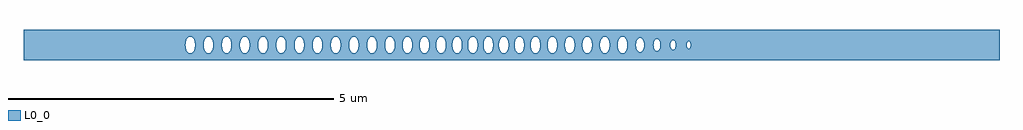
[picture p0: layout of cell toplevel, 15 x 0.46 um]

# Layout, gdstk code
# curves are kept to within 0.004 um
import gdstk
lib = gdstk.Library(unit=1e-6, precision=1e-09)
def P(c, l, *ps):  # polygons
    for p in ps: c.add(gdstk.Polygon(p, *l))
L0_0 = (0, 0)

toplevel = lib.new_cell('toplevel')
P(toplevel, L0_0, [(-4.392,-0.231),(-4.392,-0.128),(-4.41,-0.118),(-4.429,-0.095),(-4.441,-0.07),(-4.452,-0.016),(-4.449,0.04),(-4.441,0.07),(-4.422,0.106),(-4.392,0.128),(-4.392,0.231),(-7.5,0.231),(-7.5,-0.008),(-5.011,-0.008),(-5.009,0.032),(-4.997,0.077),(-4.973,0.114),(-4.942,0.13),(-4.914,0.124),(-4.886,0.095),(-4.866,0.04),(-4.863,0),(-4.732,0),(-4.725,0.056),(-4.705,0.101),(-4.676,0.126),(-4.644,0.128),(-4.614,0.106),(-4.6,0.083),(-4.59,0.056),(-4.583,0),(-4.59,-0.056),(-4.603,-0.089),(-4.626,-0.118),(-4.653,-0.13),(-4.68,-0.124),(-4.705,-0.101),(-4.725,-0.056),(-4.732,0),(-4.863,0),(-4.866,-0.04),(-4.886,-0.095),(-4.905,-0.118),(-4.932,-0.13),(-4.96,-0.124),(-4.988,-0.095),(-5.004,-0.056),(-5.011,-0.008),(-7.5,-0.008),(-7.5,-0.231)],
  [(-4.383,0.13),(-4.355,0.124),(-4.327,0.095),(-4.309,0.048),(-4.304,-0.008),(-4.173,-0.008),(-4.168,0.048),(-4.146,0.101),(-4.113,0.128),(-4.08,0.126),(-4.051,0.101),(-4.036,0.07),(-4.028,0.04),(-4.025,-0.016),(-3.893,-0.016),(-3.89,0.04),(-3.867,0.101),(-3.838,0.126),(-3.805,0.128),(-3.776,0.106),(-3.759,0.077),(-3.75,0.048),(-3.745,-0.008),(-3.75,-0.048),(-3.765,-0.089),(-3.788,-0.118),(-3.815,-0.13),(-3.842,-0.124),(-3.867,-0.101),(-3.882,-0.07),(-3.893,-0.016),(-4.025,-0.016),(-4.036,-0.07),(-4.051,-0.101),(-4.076,-0.124),(-4.103,-0.13),(-4.13,-0.118),(-4.153,-0.089),(-4.168,-0.048),(-4.173,-0.008),(-4.304,-0.008),(-4.313,-0.063),(-4.331,-0.101),(-4.364,-0.128),(-4.392,-0.128),(-4.392,-0.231),(-3.6,-0.231),(-3.6,-0.077),(-3.614,-0.008),(-3.612,0.032),(-3.6,0.076),(-3.6,0.231),(-4.392,0.231),(-4.392,0.128)],
  [(-3.591,0.095),(-3.563,0.124),(-3.545,0.13),(-3.526,0.128),(-3.496,0.106),(-3.48,0.077),(-3.469,0.04),(-3.466,0),(-3.335,0),(-3.328,0.056),(-3.308,0.101),(-3.279,0.126),(-3.251,0.129),(-3.229,0.118),(-3.206,0.089),(-3.193,0.056),(-3.186,0),(-3.193,-0.056),(-3.206,-0.089),(-3.229,-0.118),(-3.256,-0.13),(-3.283,-0.124),(-3.308,-0.101),(-3.328,-0.056),(-3.335,0),(-3.466,0),(-3.477,-0.07),(-3.496,-0.106),(-3.517,-0.124),(-3.535,-0.13),(-3.563,-0.124),(-3.58,-0.11),(-3.6,-0.077),(-3.6,-0.231),(-2.938,-0.231),(-2.938,-0.106),(-2.958,-0.124),(-2.976,-0.13),(-3.013,-0.118),(-3.044,-0.07),(-3.055,-0.016),(-3.052,0.04),(-3.025,0.106),(-3.004,0.124),(-2.986,0.13),(-2.958,0.124),(-2.938,0.106),(-2.938,0.231),(-3.6,0.231),(-3.6,0.077)],
  [(-2.908,-0.024),(-2.921,-0.077),(-2.938,-0.106),(-2.938,-0.231),(-2.148,-0.231),(-2.148,-0.13),(-2.167,-0.124),(-2.195,-0.095),(-2.211,-0.056),(-2.218,-0.008),(-2.213,0.048),(-2.195,0.095),(-2.167,0.124),(-2.148,0.13),(-2.148,0.231),(-2.938,0.231),(-2.938,0.106),(-2.914,0.056),(-2.907,-0.008),(-2.776,-0.008),(-2.771,0.048),(-2.756,0.089),(-2.725,0.124),(-2.697,0.13),(-2.67,0.118),(-2.642,0.077),(-2.631,0.04),(-2.628,-0.016),(-2.496,-0.016),(-2.493,0.04),(-2.47,0.101),(-2.436,0.128),(-2.399,0.124),(-2.375,0.101),(-2.362,0.077),(-2.353,0.048),(-2.348,-0.008),(-2.362,-0.077),(-2.379,-0.106),(-2.408,-0.128),(-2.441,-0.126),(-2.47,-0.101),(-2.485,-0.07),(-2.496,-0.016),(-2.628,-0.016),(-2.639,-0.07),(-2.654,-0.101),(-2.674,-0.121),(-2.697,-0.13),(-2.725,-0.124),(-2.749,-0.101),(-2.767,-0.063),(-2.776,-0.008),(-2.907,-0.008)],
  [(-2.073,-0.04),(-2.1,-0.106),(-2.121,-0.124),(-2.148,-0.13),(-2.148,-0.231),(-1.369,-0.231),(-1.369,-0.118),(-1.4,-0.07),(-1.411,-0.016),(-1.409,0.032),(-1.4,0.07),(-1.369,0.118),(-1.369,0.231),(-2.148,0.231),(-2.148,0.13),(-2.121,0.124),(-2.093,0.095),(-2.073,0.04),(-2.07,-0.008),(-1.943,-0.008),(-1.938,0.048),(-1.923,0.089),(-1.9,0.118),(-1.873,0.13),(-1.846,0.124),(-1.821,0.101),(-1.798,0.04),(-1.795,-0.016),(-1.673,-0.016),(-1.67,0.04),(-1.662,0.07),(-1.643,0.106),(-1.613,0.128),(-1.585,0.128),(-1.563,0.114),(-1.548,0.095),(-1.532,0.056),(-1.525,-0.008),(-1.534,-0.063),(-1.559,-0.11),(-1.595,-0.13),(-1.618,-0.126),(-1.643,-0.106),(-1.662,-0.07),(-1.673,-0.016),(-1.795,-0.016),(-1.806,-0.07),(-1.821,-0.101),(-1.841,-0.121),(-1.864,-0.13),(-1.892,-0.124),(-1.916,-0.101),(-1.934,-0.063),(-1.943,-0.008),(-2.07,-0.008)],
  [(-1.36,0.124),(-1.342,0.13),(-1.323,0.128),(-1.293,0.106),(-1.27,0.056),(-1.263,-0.008),(-1.157,-0.008),(-1.15,0.056),(-1.137,0.089),(-1.11,0.121),(-1.078,0.13),(-1.051,0.118),(-1.025,0.083),(-1.012,0.04),(-1.009,-0.016),(-0.909,-0.016),(-0.906,0.04),(-0.883,0.101),(-0.854,0.126),(-0.821,0.128),(-0.792,0.106),(-0.775,0.077),(-0.766,0.048),(-0.761,-0.008),(-0.766,-0.048),(-0.781,-0.089),(-0.804,-0.118),(-0.831,-0.13),(-0.858,-0.124),(-0.883,-0.101),(-0.898,-0.07),(-0.909,-0.016),(-1.009,-0.016),(-1.02,-0.07),(-1.035,-0.101),(-1.06,-0.124),(-1.087,-0.13),(-1.114,-0.118),(-1.137,-0.089),(-1.15,-0.056),(-1.157,-0.008),(-1.263,-0.008),(-1.274,-0.07),(-1.293,-0.106),(-1.314,-0.124),(-1.332,-0.13),(-1.369,-0.118),(-1.369,-0.231),(-0.666,-0.231),(-0.666,0.231),(-1.369,0.231),(-1.369,0.118)],
  [(-0.075,-0.106),(-0.091,-0.121),(-0.114,-0.13),(-0.15,-0.118),(-0.166,-0.101),(-0.184,-0.063),(-0.193,0.008),(-0.179,0.077),(-0.166,0.101),(-0.142,0.124),(-0.114,0.13),(-0.091,0.121),(-0.071,0.101),(-0.056,0.07),(-0.056,0.231),(-0.666,0.231),(-0.666,0.032),(-0.657,0.07),(-0.638,0.106),(-0.617,0.124),(-0.589,0.13),(-0.562,0.118),(-0.543,0.095),(-0.523,0.04),(-0.52,-0.008),(-0.43,-0.008),(-0.425,0.048),(-0.407,0.095),(-0.379,0.124),(-0.351,0.13),(-0.324,0.118),(-0.305,0.095),(-0.293,0.07),(-0.282,0.016),(-0.285,-0.04),(-0.296,-0.077),(-0.324,-0.118),(-0.351,-0.13),(-0.379,-0.124),(-0.407,-0.095),(-0.423,-0.056),(-0.43,-0.008),(-0.52,-0.008),(-0.527,-0.056),(-0.543,-0.095),(-0.562,-0.118),(-0.589,-0.13),(-0.617,-0.124),(-0.638,-0.106),(-0.657,-0.07),(-0.666,-0.032),(-0.666,-0.231),(-0.056,-0.231),(-0.056,-0.071)],
  [(-0.048,-0.04),(-0.056,-0.07),(-0.056,-0.231),(0.623,-0.231),(0.623,-0.13),(0.596,-0.118),(0.577,-0.095),(0.565,-0.07),(0.554,-0.016),(0.556,0.032),(0.568,0.077),(0.596,0.118),(0.623,0.13),(0.623,0.231),(-0.056,0.231),(-0.056,0.07),(-0.045,-0.008),(0.047,-0.008),(0.049,0.032),(0.061,0.077),(0.085,0.114),(0.116,0.13),(0.144,0.124),(0.172,0.095),(0.192,0.04),(0.195,-0.016),(0.295,-0.016),(0.297,0.032),(0.309,0.077),(0.337,0.118),(0.364,0.13),(0.392,0.124),(0.413,0.106),(0.432,0.07),(0.443,0.016),(0.441,-0.032),(0.429,-0.077),(0.401,-0.118),(0.374,-0.13),(0.346,-0.124),(0.325,-0.106),(0.306,-0.07),(0.295,-0.016),(0.195,-0.016),(0.184,-0.07),(0.172,-0.095),(0.153,-0.118),(0.126,-0.13),(0.098,-0.124),(0.07,-0.095),(0.054,-0.056),(0.047,-0.008),(-0.045,-0.008)],
  [(1.365,0.048),(1.374,0.076),(1.374,0.231),(0.623,0.231),(0.623,0.13),(0.651,0.124),(0.679,0.095),(0.697,0.048),(0.702,-0.008),(0.821,-0.008),(0.823,0.032),(0.835,0.077),(0.859,0.114),(0.89,0.13),(0.918,0.124),(0.946,0.095),(0.966,0.04),(0.969,-0.016),(1.091,-0.016),(1.094,0.04),(1.105,0.077),(1.133,0.118),(1.16,0.13),(1.188,0.124),(1.212,0.101),(1.23,0.063),(1.239,0.008),(1.234,-0.048),(1.219,-0.089),(1.196,-0.118),(1.169,-0.13),(1.142,-0.124),(1.117,-0.101),(1.102,-0.07),(1.091,-0.016),(0.969,-0.016),(0.958,-0.07),(0.939,-0.106),(0.918,-0.124),(0.89,-0.13),(0.864,-0.118),(0.844,-0.095),(0.828,-0.056),(0.821,-0.008),(0.702,-0.008),(0.691,-0.07),(0.672,-0.106),(0.651,-0.124),(0.623,-0.13),(0.623,-0.231),(1.374,-0.231),(1.374,-0.077),(1.36,-0.008)],
  [(2.184,-0.023),(2.186,0.231),(1.374,0.231),(1.374,0.077),(1.387,0.101),(1.411,0.124),(1.439,0.13),(1.462,0.121),(1.482,0.101),(1.497,0.07),(1.505,0.04),(1.508,-0.016),(1.633,-0.016),(1.636,0.04),(1.647,0.077),(1.675,0.118),(1.702,0.13),(1.73,0.124),(1.761,0.089),(1.776,0.048),(1.78,-0.014),(1.913,-0.014),(1.917,0.041),(1.93,0.077),(1.953,0.104),(1.973,0.112),(1.996,0.107),(2.014,0.091),(2.028,0.066),(2.04,0.014),(2.037,-0.035),(2.028,-0.066),(2.011,-0.095),(1.992,-0.109),(1.961,-0.109),(1.939,-0.091),(1.925,-0.066),(1.913,-0.014),(1.78,-0.014),(1.772,-0.063),(1.754,-0.101),(1.73,-0.124),(1.711,-0.13),(1.684,-0.124),(1.659,-0.101),(1.644,-0.07),(1.633,-0.016),(1.508,-0.016),(1.494,-0.077),(1.478,-0.106),(1.453,-0.126),(1.43,-0.13),(1.411,-0.124),(1.387,-0.101),(1.374,-0.077),(1.374,-0.231),(2.186,-0.231)],
  [(2.187,0.04),(2.204,0.076),(2.222,0.091),(2.239,0.094),(2.258,0.085),(2.276,0.06),(2.288,0.018),(2.288,-0.009),(2.44,-0.009),(2.441,0.019),(2.452,0.052),(2.47,0.072),(2.488,0.075),(2.506,0.064),(2.516,0.048),(2.524,0.023),(2.525,-0.011),(2.691,-0.011),(2.699,0.039),(2.709,0.052),(2.727,0.057),(2.747,0.039),(2.755,-0.011),(2.744,-0.044),(2.727,-0.057),(2.702,-0.044),(2.691,-0.011),(2.525,-0.011),(2.522,-0.032),(2.506,-0.064),(2.491,-0.074),(2.477,-0.075),(2.452,-0.052),(2.44,-0.009),(2.288,-0.009),(2.284,-0.04),(2.272,-0.068),(2.258,-0.085),(2.239,-0.094),(2.222,-0.091),(2.204,-0.076),(2.186,-0.036),(2.186,-0.231),(7.5,-0.231),(7.5,0.231),(2.186,0.231)])

lib.write_gds('toplevel.gds')
